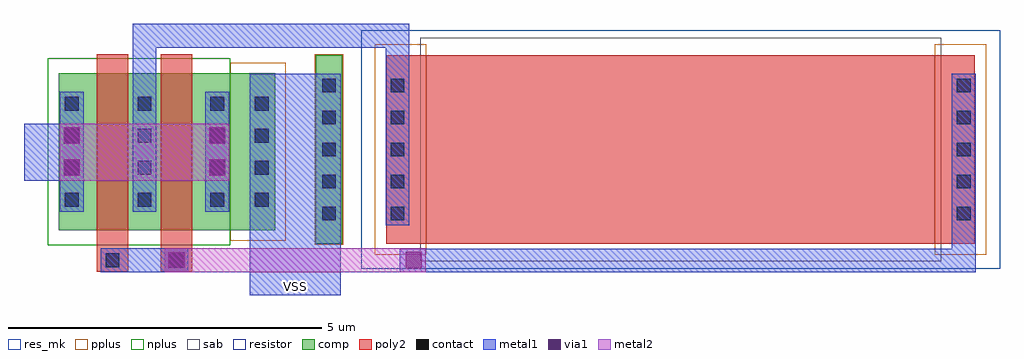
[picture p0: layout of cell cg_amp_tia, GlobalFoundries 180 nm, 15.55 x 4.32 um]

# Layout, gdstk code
import gdstk
lib = gdstk.Library(unit=1e-6, precision=5e-09)
def R(c, l, rs):  # rectangles x0, y0, x1, y1
    for r in rs: c.add(gdstk.rectangle(r[:2], r[2:], *l))
def A(c, l, x, y, w, h, nx, ny, dx, dy):  # array of equal rectangles
    R(c, l, [(x+i*dx, y+j*dy, x+i*dx+w, y+j*dy+h) for i in range(nx) for j in range(ny)])
comp = (22, 0)
poly2 = (30, 0)
pplus = (31, 0)
nplus = (32, 0)
contact = (33, 0)
metal1 = (34, 0)
via1 = (35, 0)
metal2 = (36, 0)
sab = (49, 0)
resistor = (62, 0)
res_mk = (110, 5)

ppolyf_u_high_rs_resisto = lib.new_cell('ppolyf_u_high_Rs_resistor')
R(ppolyf_u_high_rs_resisto, comp, [(-1.76,0,-1.34,3)])
R(ppolyf_u_high_rs_resisto, poly2, [(-0.64,0,8.74,3)])
R(ppolyf_u_high_rs_resisto, pplus, [(-0.82,-0.18,0,3.18), (8.1,-0.18,8.92,3.18), (-1.78,-0.02,-1.32,3.02)])
A(ppolyf_u_high_rs_resisto, contact, -1.66, 0.37, 0.22, 0.22, 1, 5, 0, 0.51)
A(ppolyf_u_high_rs_resisto, contact, -0.57, 0.37, 0.22, 0.22, 1, 5, 0, 0.51)
A(ppolyf_u_high_rs_resisto, contact, 8.45, 0.37, 0.22, 0.22, 1, 5, 0, 0.51)
R(ppolyf_u_high_rs_resisto, metal1, [(-1.74,0.29,-1.36,2.71), (-0.65,0.29,-0.27,2.71), (8.37,0.29,8.75,2.71)])
R(ppolyf_u_high_rs_resisto, sab, [(-0.1,-0.28,8.2,3.28)])
R(ppolyf_u_high_rs_resisto, resistor, [(-1.04,-0.4,9.14,3.4)])
R(ppolyf_u_high_rs_resisto, res_mk, [(0,0,8.1,3)])

nfet = lib.new_cell('nfet')
R(nfet, comp, [(-0.42,0,0,2.5), (0,0,1.9,2.5), (1.9,0,2.32,2.5), (2.32,0,3.03,2.5)])
R(nfet, poly2, [(0.19,-0.66,0.69,-0.3), (1.21,-0.66,1.71,-0.3), (0.19,-0.3,0.69,2.8), (1.21,-0.3,1.71,2.8)])
R(nfet, pplus, [(2.32,-0.17,3.2,2.67)])
R(nfet, nplus, [(-0.59,-0.24,2.32,2.74)])
A(nfet, contact, -0.32, 0.375, 0.22, 0.22, 3, 4, 1.16, 0.51)
A(nfet, contact, 2.71, 0.375, 0.22, 0.22, 1, 4, 0, 0.51)
R(nfet, contact, [(0.33,-0.59,0.55,-0.37), (1.35,-0.59,1.57,-0.37)])
A(nfet, metal1, -0.4, 0.295, 0.38, 1.91, 3, 1, 1.16, 0)
R(nfet, metal1, [(0.25,-0.67,0.63,-0.29), (1.27,-0.67,1.65,-0.29), (2.63,0.295,3.01,2.205)])

cg_amp_tia = lib.new_cell('cg_amp_tia')
R(cg_amp_tia, metal1, [(4.52,1.5,5.97,5.03), (2.14,1.865,3.54,2.245), (0.92,3.32,1.87,4.23)])
R(cg_amp_tia, via1, [(3.22,1.93,3.48,2.19), (7,1.93,7.26,2.19), (1.55,3.4,1.81,3.66), (3.87,3.4,4.13,3.66), (1.55,3.91,1.81,4.17), (3.87,3.91,4.13,4.17)])
R(cg_amp_tia, metal2, [(3.16,1.86,7.32,2.245), (1.49,3.32,4.19,4.23)])
cg_amp_tia.add(gdstk.FlexPath([(6.87,5.03),(6.87,5.63),(2.84,5.63),(2.84,4.74)], 0.38, ends="flush", simple_path=True, layer=34, datatype=0))  # metal1
cg_amp_tia.add(gdstk.FlexPath([(15.89,2.61),(15.89,2.05),(6.91,2.05)], 0.38, ends="flush", simple_path=True, layer=34, datatype=0))  # metal1
cg_amp_tia.add(gdstk.Reference(ppolyf_u_high_rs_resisto, (7.33,2.32)))
cg_amp_tia.add(gdstk.Reference(nfet, (1.89,2.535)))
cg_amp_tia.add(gdstk.Label('VSS', (5.25,1.64), layer=34, texttype=10))

lib.write_gds('cg_amp_tia.gds')
